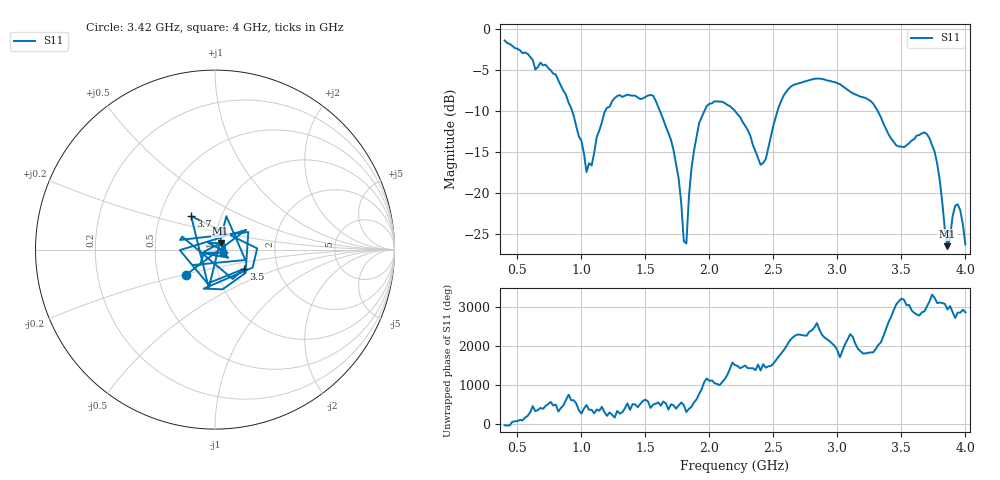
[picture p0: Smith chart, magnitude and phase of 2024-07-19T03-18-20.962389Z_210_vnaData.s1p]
!Created with skrf (http://scikit-rf.org).
# Hz S RI R 50.0
!freq ReS11 ImS11
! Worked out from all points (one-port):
!   181 points, 400 MHz to 4 GHz, reference 50 ohm
!   lowest |S11| = -26.4 dB at 3.86 GHz (marker M1), VSWR 1.10, Z = 53.1 + j3.82 ohm
!   |S11| at or under -10 dB: 1.615 GHz to 1.96 GHz (345.2 MHz wide, 19.3 % of centre); 2.202 GHz to 2.531 GHz (329.5 MHz wide, 13.9 % of centre); 3.316 GHz to end of sweep (the widest 3 of 4)
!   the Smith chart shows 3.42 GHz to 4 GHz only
!   S11 on the Smith chart (normalised r, x): 3.42 GHz: 0.69, -0.21; 3.5 GHz: 1.34, -0.30; 3.7 GHz: 0.72, +0.28; 4 GHz: 1.09, -0.04
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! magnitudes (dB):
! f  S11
! 400 MHz  -1.4
! 860 MHz  -7.5
! 1 GHz  -13.6
! 1.04 GHz  -17.4
! 1.18 GHz  -10.1
! 1.3 GHz  -8.0
! 1.56 GHz  -8.1
! 1.7 GHz  -13.5
! 1.76 GHz  -18.2
! 1.8 GHz  -25.8
! 1.82 GHz  -26.1
! 1.86 GHz  -17.0
! 1.92 GHz  -11.4
! 2.04 GHz  -8.8
! 2.2 GHz  -10.0
! 2.4 GHz  -16.5
! 2.56 GHz  -8.8
! 2.66 GHz  -6.8
! 3.1 GHz  -7.6
! 3.28 GHz  -9.1
! 3.42 GHz  -13.3
! 3.5 GHz  -14.3
! 3.56 GHz  -13.9
! 3.7 GHz  -12.8
! 3.78 GHz  -16.4
! 3.86 GHz  -26.4
! 3.94 GHz  -21.3
! 4 GHz  -26.2
